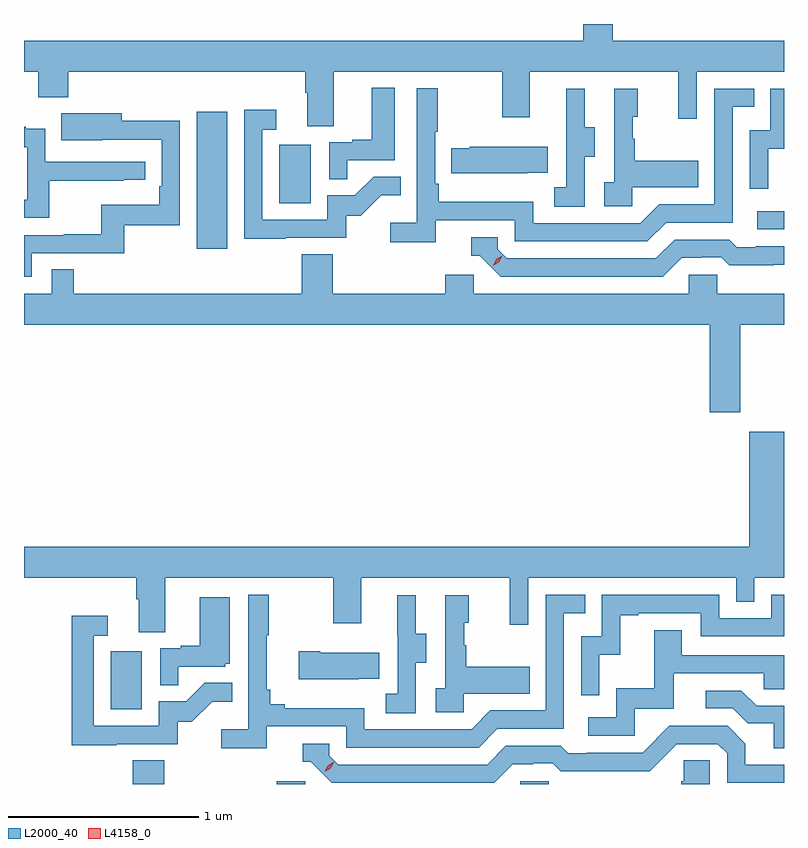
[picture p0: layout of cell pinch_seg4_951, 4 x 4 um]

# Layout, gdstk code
import gdstk
lib = gdstk.Library(unit=1e-6, precision=1e-09)
def R(c, l, rs):  # rectangles x0, y0, x1, y1
    for r in rs: c.add(gdstk.rectangle(r[:2], r[2:], *l))
def P(c, l, *ps):  # polygons
    for p in ps: c.add(gdstk.Polygon(p, *l))
L2000_40 = (2000, 40)
L4158_0 = (4158, 0)

pinch_seg4_951 = lib.new_cell('pinch_seg4_951')
R(pinch_seg4_951, L2000_40, [(868.289,770.427,868.454,770.552), (869.045,770.427,869.196,770.442), (870.327,770.427,870.477,770.442), (868.172,770.82,868.336,771.127), (868.625,773.244,868.786,773.965), (871.575,773.346,871.716,773.442), (869.06,773.484,869.224,773.791)])
P(pinch_seg4_951, L2000_40, [(869.347,774.176),(870.232,774.176),(870.232,773.937),(870.379,773.937),(870.379,774.176),(871.16,774.176),(871.16,773.928),(871.257,773.928),(871.257,774.176),(871.716,774.176),(871.716,774.34),(870.815,774.34),(870.815,774.427),(870.659,774.427),(870.659,774.34),(867.716,774.34),(867.716,774.176),(867.79,774.176),(867.79,774.041),(867.95,774.041),(867.95,774.176),(869.195,774.176),(869.195,774.064),(869.207,774.064),(869.207,773.89),(869.347,773.89)],
  [(869.417,773.709),(869.668,773.709),(869.668,774.091),(869.546,774.091),(869.546,773.818),(869.443,773.818),(869.443,773.805),(869.322,773.805),(869.322,773.611),(869.417,773.611)],
  [(869.882,773.394),(870.3,773.394),(870.3,773.283),(870.997,773.283),(871.096,773.382),(871.446,773.382),(871.446,773.991),(871.559,773.991),(871.559,774.087),(871.35,774.087),(871.35,773.478),(871.059,773.478),(870.96,773.379),(870.396,773.379),(870.396,773.491),(869.9,773.491),(869.9,773.587),(869.88,773.587),(869.88,773.86),(869.893,773.86),(869.893,774.088),(869.784,774.088),(869.784,773.38),(869.643,773.38),(869.643,773.278),(869.882,773.278)],
  [(871.632,773.771),(871.716,773.771),(871.716,774.087),(871.644,774.087),(871.644,773.868),(871.536,773.868),(871.536,773.559),(871.632,773.559)],
  [(870.918,773.567),(871.265,773.567),(871.265,773.707),(870.931,773.707),(870.931,773.822),(870.921,773.822),(870.921,773.94),(870.946,773.94),(870.946,774.085),(870.822,774.085),(870.822,773.594),(870.771,773.594),(870.771,773.469),(870.918,773.469)],
  [(870.666,773.728),(870.721,773.728),(870.721,773.883),(870.667,773.883),(870.667,774.085),(870.569,774.085),(870.569,773.871),(870.57,773.871),(870.57,773.567),(870.507,773.567),(870.507,773.464),(870.666,773.464)],
  [(869.093,773.301),(869.412,773.301),(869.412,773.418),(869.488,773.418),(869.595,773.525),(869.699,773.525),(869.699,773.624),(869.556,773.624),(869.458,773.526),(869.313,773.526),(869.313,773.397),(868.971,773.397),(868.971,773.871),(869.044,773.871),(869.044,773.977),(868.875,773.977),(868.875,773.296),(869.093,773.296)],
  [(867.756,773.22),(868.243,773.22),(868.243,773.367),(868.536,773.367),(868.536,773.918),(868.231,773.918),(868.231,773.956),(867.913,773.956),(867.913,773.816),(868.127,773.816),(868.127,773.817),(868.44,773.817),(868.44,773.572),(868.427,773.572),(868.427,773.476),(868.122,773.476),(868.122,773.321),(867.925,773.321),(867.925,773.316),(867.716,773.316),(867.716,773.097),(867.756,773.097)],
  [(867.848,773.602),(868.241,773.602),(868.241,773.607),(868.354,773.607),(868.354,773.703),(867.828,773.703),(867.828,773.875),(867.725,773.875),(867.725,773.887),(867.716,773.887),(867.716,773.778),(867.732,773.778),(867.732,773.502),(867.716,773.502),(867.716,773.406),(867.848,773.406)],
  [(870.365,773.645),(870.473,773.645),(870.473,773.782),(870.063,773.782),(870.063,773.772),(869.965,773.772),(869.965,773.642),(870.365,773.642)],
  [(871.177,773.196),(871.284,773.196),(871.284,773.199),(871.387,773.199),(871.429,773.157),(871.662,773.157),(871.662,773.159),(871.716,773.159),(871.716,773.256),(871.567,773.256),(871.567,773.253),(871.468,773.253),(871.429,773.292),(871.14,773.292),(871.041,773.193),(870.258,773.193),(870.21,773.241),(870.21,773.304),(870.071,773.304),(870.071,773.208),(870.114,773.208),(870.225,773.097),(871.078,773.097)],
  [(871.215,773.008),(870.084,773.008),(870.084,773.106),(869.933,773.106),(869.933,773.008),(869.342,773.008),(869.342,773.216),(869.177,773.216),(869.177,773.008),(867.977,773.008),(867.977,773.135),(867.861,773.135),(867.861,773.008),(867.716,773.008),(867.716,772.844),(871.325,772.844),(871.325,772.383),(871.485,772.383),(871.485,772.844),(871.716,772.844),(871.716,773.008),(871.365,773.008),(871.365,773.106),(871.215,773.106)],
  [(868.459,771.512),(869.344,771.512),(869.344,771.273),(869.491,771.273),(869.491,771.512),(870.272,771.512),(870.272,771.264),(870.369,771.264),(870.369,771.512),(871.464,771.512),(871.464,771.385),(871.56,771.385),(871.56,771.512),(871.716,771.512),(871.716,772.282),(871.532,772.282),(871.532,771.676),(867.716,771.676),(867.716,771.512),(868.307,771.512),(868.307,771.4),(868.319,771.4),(868.319,771.226),(868.459,771.226)],
  [(868.994,770.73),(869.412,770.73),(869.412,770.619),(870.109,770.619),(870.208,770.718),(870.558,770.718),(870.558,771.327),(870.671,771.327),(870.671,771.423),(870.462,771.423),(870.462,770.814),(870.171,770.814),(870.072,770.715),(869.508,770.715),(869.508,770.827),(869.089,770.827),(869.089,770.846),(869.012,770.846),(869.012,770.923),(868.993,770.923),(868.993,771.211),(869.005,771.211),(869.005,771.424),(868.896,771.424),(868.896,770.716),(868.755,770.716),(868.755,770.614),(868.994,770.614)],
  [(870.744,771.107),(870.854,771.107),(870.854,771.315),(870.949,771.315),(870.949,771.327),(871.278,771.327),(871.278,771.204),(871.716,771.204),(871.716,771.423),(871.65,771.423),(871.65,771.3),(871.374,771.3),(871.374,771.423),(870.756,771.423),(870.756,771.204),(870.648,771.204),(870.648,770.895),(870.744,770.895)],
  [(870.03,770.903),(870.377,770.903),(870.377,771.043),(870.043,771.043),(870.043,771.158),(870.033,771.158),(870.033,771.276),(870.058,771.276),(870.058,771.421),(869.934,771.421),(869.934,770.93),(869.883,770.93),(869.883,770.805),(870.03,770.805)],
  [(869.778,771.064),(869.833,771.064),(869.833,771.219),(869.779,771.219),(869.779,771.421),(869.681,771.421),(869.681,771.207),(869.682,771.207),(869.682,770.903),(869.619,770.903),(869.619,770.8),(869.778,770.8)],
  [(868.529,771.045),(868.776,771.045),(868.776,771.06),(868.798,771.06),(868.798,771.409),(868.64,771.409),(868.64,771.154),(868.541,771.154),(868.541,771.141),(868.434,771.141),(868.434,770.947),(868.529,770.947)],
  [(868.205,770.637),(868.524,770.637),(868.524,770.754),(868.6,770.754),(868.707,770.861),(868.811,770.861),(868.811,770.96),(868.667,770.96),(868.569,770.862),(868.425,770.862),(868.425,770.733),(868.083,770.733),(868.083,771.207),(868.156,771.207),(868.156,771.313),(867.967,771.313),(867.967,770.632),(868.205,770.632)],
  [(870.93,770.823),(871.135,770.823),(871.135,771.009),(871.609,771.009),(871.609,770.925),(871.716,770.925),(871.716,771.105),(871.177,771.105),(871.177,771.235),(871.033,771.235),(871.033,770.932),(870.834,770.932),(870.834,770.778),(870.687,770.778),(870.687,770.682),(870.93,770.682)],
  [(869.477,770.981),(869.585,770.981),(869.585,771.118),(869.275,771.118),(869.275,771.126),(869.163,771.126),(869.163,770.978),(869.477,770.978)],
  [(871.716,770.838),(871.573,770.838),(871.492,770.919),(871.305,770.919),(871.305,770.826),(871.446,770.826),(871.526,770.746),(871.661,770.746),(871.661,770.614),(871.716,770.614)],
  [(870.289,770.532),(870.396,770.532),(870.396,770.535),(870.499,770.535),(870.541,770.493),(870.774,770.493),(870.774,770.495),(871.01,770.495),(871.152,770.637),(871.368,770.637),(871.416,770.589),(871.416,770.433),(871.716,770.433),(871.716,770.529),(871.513,770.529),(871.513,770.639),(871.419,770.733),(871.113,770.733),(870.972,770.592),(870.679,770.592),(870.679,770.589),(870.58,770.589),(870.541,770.628),(870.252,770.628),(870.153,770.529),(869.37,770.529),(869.322,770.577),(869.322,770.64),(869.183,770.64),(869.183,770.544),(869.226,770.544),(869.337,770.433),(870.19,770.433)],
  [(871.326,770.552),(871.189,770.552),(871.189,770.442),(871.175,770.442),(871.175,770.427),(871.326,770.427)])
P(pinch_seg4_951, L4158_0, [(869.299,770.491),(869.299,770.491),(869.315,770.524),(869.345,770.544),(869.345,770.544),(869.345,770.543),(869.33,770.511),(869.299,770.491)],
  [(870.187,773.155),(870.187,773.155),(870.202,773.188),(870.233,773.208),(870.233,773.208),(870.233,773.207),(870.218,773.175),(870.187,773.155)])

lib.write_gds('pinch_seg4_951.gds')
